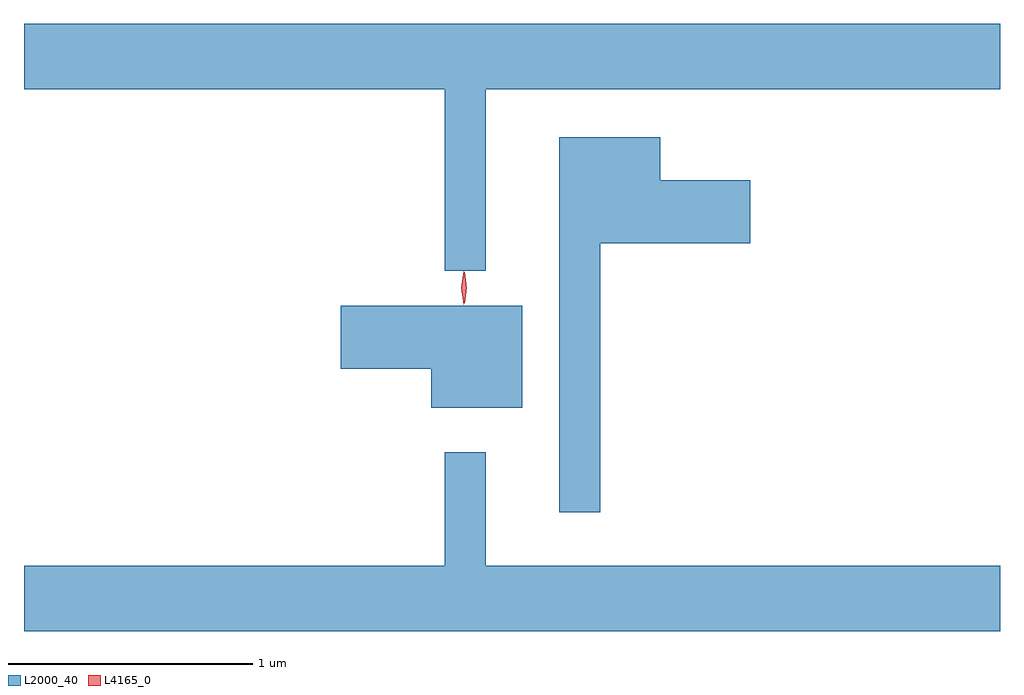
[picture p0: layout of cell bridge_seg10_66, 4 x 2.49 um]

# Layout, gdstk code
import gdstk
lib = gdstk.Library(unit=1e-6, precision=1e-09)
def P(c, l, *ps):  # polygons
    for p in ps: c.add(gdstk.Polygon(p, *l))
L2000_40 = (2000, 40)
L4165_0 = (4165, 0)

bridge_seg10_66 = lib.new_cell('bridge_seg10_66')
P(bridge_seg10_66, L2000_40, [(1497.939,2211.596),(1500.047,2211.596),(1500.047,2211.864),(1496.047,2211.864),(1496.047,2211.596),(1497.771,2211.596),(1497.771,2210.853),(1497.939,2210.853)],
  [(1498.409,2210.966),(1499.024,2210.966),(1499.024,2211.224),(1498.654,2211.224),(1498.654,2211.399),(1498.241,2211.399),(1498.241,2209.863),(1498.409,2209.863)],
  [(1498.089,2210.709),(1497.346,2210.709),(1497.346,2210.451),(1497.716,2210.451),(1497.716,2210.291),(1498.089,2210.291)],
  [(1500.047,2209.644),(1497.939,2209.644),(1497.939,2210.108),(1497.771,2210.108),(1497.771,2209.644),(1496.047,2209.644),(1496.047,2209.376),(1500.047,2209.376)])
P(bridge_seg10_66, L4165_0, [(1497.852,2210.72),(1497.852,2210.72),(1497.842,2210.783),(1497.852,2210.846),(1497.852,2210.847),(1497.853,2210.846),(1497.862,2210.783),(1497.853,2210.72)],
  [(1497.849,2210.714),(1497.849,2210.714),(1497.839,2210.782),(1497.849,2210.85),(1497.849,2210.85),(1497.85,2210.85),(1497.859,2210.782),(1497.85,2210.714)])

lib.write_gds('bridge_seg10_66.gds')
